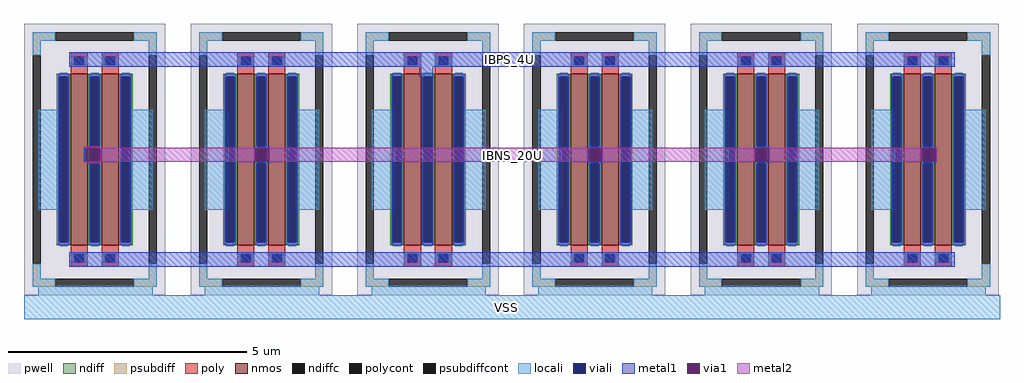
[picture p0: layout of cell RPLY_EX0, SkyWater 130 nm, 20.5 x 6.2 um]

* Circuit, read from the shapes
.subckt RPLY_EX0 VSS IBPS_4U IBNS_20U
XM1 IBNS_20U IBPS_4U VSS VSS sky130_fd_pr__nfet_01v8 w=3.6 l=0.36 m=10
XM2 IBPS_4U IBPS_4U VSS VSS sky130_fd_pr__nfet_01v8 w=3.6 l=0.36 m=2
.ends

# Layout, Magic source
magic
tech sky130B
magscale 1 2
<< locali >>
rect 360 460 460 880
rect 740 460 840 880
rect 1060 460 1160 880
rect 1440 460 1540 880
rect 1760 460 1860 880
rect 2140 460 2240 880
rect 2460 460 2560 880
rect 2840 460 2940 880
rect 3160 460 3260 880
rect 3540 460 3640 880
rect 3860 460 3960 880
rect 4240 460 4340 880
rect 360 100 840 140
rect 1060 100 1540 140
rect 1760 100 2240 140
rect 2460 100 2940 140
rect 3160 100 3640 140
rect 3860 100 4340 140
rect 300 0 4400 100
<< metal1 >>
rect 490 1060 4210 1120
rect 1960 1020 2020 1060
rect 1270 720 1330 726
rect 554 660 560 720
rect 620 660 626 720
rect 1270 654 1330 660
rect 2670 720 2730 726
rect 2670 654 2730 660
rect 3370 720 3430 726
rect 3370 654 3430 660
rect 4070 720 4130 726
rect 4070 654 4130 660
rect 490 220 4210 280
<< via1 >>
rect 560 660 620 720
rect 1270 660 1330 720
rect 2670 660 2730 720
rect 3370 660 3430 720
rect 4070 660 4130 720
<< metal2 >>
rect 560 720 620 726
rect 620 660 1270 720
rect 1330 660 2670 720
rect 2730 660 3370 720
rect 3430 660 4070 720
rect 4130 660 4136 720
rect 560 654 620 660
use sky130_fd_pr__nfet_01v8_5CE34N  sky130_fd_pr__nfet_01v8_5CE34N_0
transform 1 0 597 0 1 670
box -297 -570 297 570
use sky130_fd_pr__nfet_01v8_5CE34N  sky130_fd_pr__nfet_01v8_5CE34N_1
transform 1 0 1297 0 1 670
box -297 -570 297 570
use sky130_fd_pr__nfet_01v8_5CE34N  sky130_fd_pr__nfet_01v8_5CE34N_2
transform 1 0 1997 0 1 670
box -297 -570 297 570
use sky130_fd_pr__nfet_01v8_5CE34N  sky130_fd_pr__nfet_01v8_5CE34N_3
transform 1 0 2697 0 1 670
box -297 -570 297 570
use sky130_fd_pr__nfet_01v8_5CE34N  sky130_fd_pr__nfet_01v8_5CE34N_4
transform 1 0 3397 0 1 670
box -297 -570 297 570
use sky130_fd_pr__nfet_01v8_5CE34N  sky130_fd_pr__nfet_01v8_5CE34N_5
transform 1 0 4097 0 1 670
box -297 -570 297 570
<< labels >>
flabel locali 2276 4 2380 94 0 FreeSans 160 0 0 0 VSS
port 1 nsew
flabel metal1 2300 1060 2380 1120 0 FreeSans 160 0 0 0 IBPS_4U
port 2 nsew
flabel metal2 2318 658 2388 714 0 FreeSans 160 0 0 0 IBNS_20U
port 3 nsew
<< end >>

# cell sky130_fd_pr__nfet_01v8_5CE34N: kit device sky130_fd_pr__nfet_01v8, w 3.6 l 0.36 m 1 nf 2 diffcov 100 polycov 100 guard 1 glc 1 grc 1 gtc 1 gbc 1 tbcov 100 rlcov 100 topc 1 botc 1 poverlap 0 doverlap 1 lmin 0.15 wmin 0.42 compatible {sky130_fd_pr__nfet_01v8 sky130_fd_pr__nfet_01v8_lvt sky130_fd_bs_flash__special_sonosfet_star sky130_fd_pr__nfet_g5v0d10v5 sky130_fd_pr__nfet_05v0_nvt sky130_fd_pr__nfet_03v3_nvt} full_metal 1 viasrc 100 viadrn 100 viagate 100 viagb 0 viagr 0 viagl 0 viagt 0
